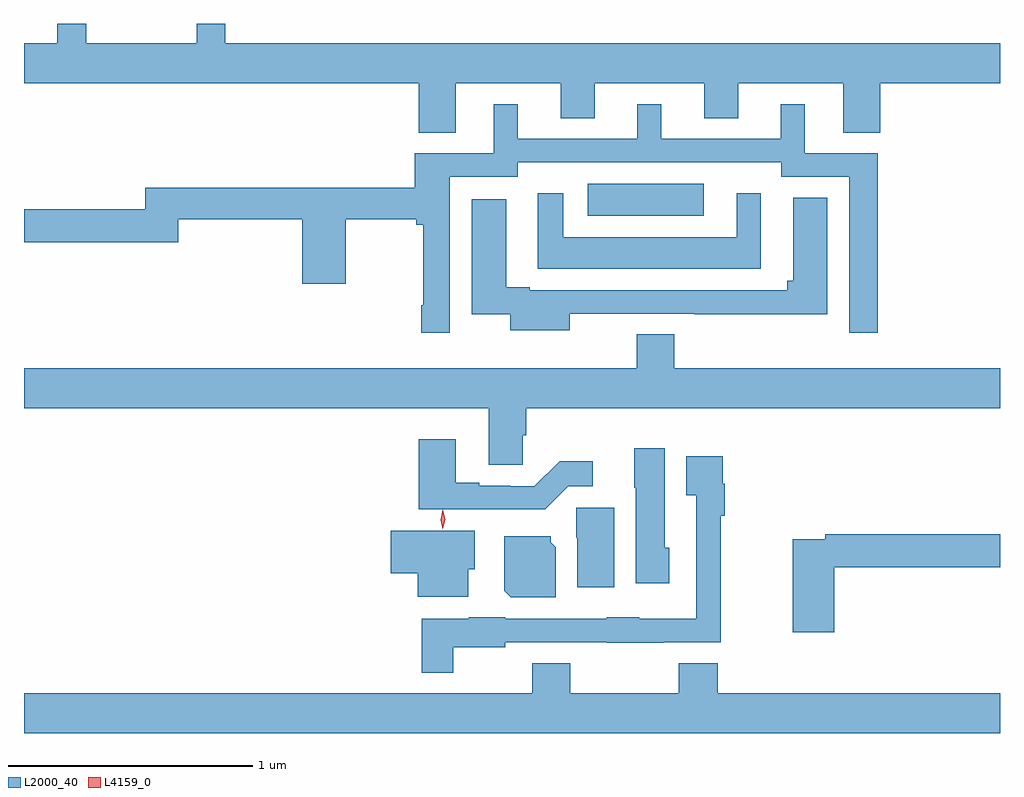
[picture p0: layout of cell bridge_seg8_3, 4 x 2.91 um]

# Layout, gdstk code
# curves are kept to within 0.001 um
import gdstk
lib = gdstk.Library(unit=1e-6, precision=1e-09)
def R(c, l, rs):  # rectangles x0, y0, x1, y1
    for r in rs: c.add(gdstk.rectangle(r[:2], r[2:], *l))
def P(c, l, *ps):  # polygons
    for p in ps: c.add(gdstk.Polygon(p, *l))
L2000_40 = (2000, 40)
L4159_0 = (4159, 0)

bridge_seg8_3 = lib.new_cell('bridge_seg8_3')
R(bridge_seg8_3, L2000_40, [(997.227,1154.585,997.702,1154.716)])
P(bridge_seg8_3, L2000_40, [(996.685,1155.128),(997.115,1155.128),(997.115,1154.986),(997.255,1154.986),(997.255,1155.128),(997.703,1155.128),(997.703,1154.986),(997.843,1154.986),(997.843,1155.128),(998.273,1155.128),(998.273,1154.926),(998.426,1154.926),(998.426,1155.128),(998.916,1155.128),(998.916,1155.292),(995.741,1155.292),(995.741,1155.373),(995.624,1155.373),(995.624,1155.292),(995.171,1155.292),(995.171,1155.373),(995.053,1155.373),(995.053,1155.292),(994.916,1155.292),(994.916,1155.128),(996.533,1155.128),(996.533,1154.926),(996.685,1154.926)],
  [(996.66,1154.745),(996.939,1154.745),(996.939,1154.805),(998.019,1154.805),(998.019,1154.745),(998.298,1154.745),(998.298,1154.106),(998.414,1154.106),(998.414,1154.841),(998.116,1154.841),(998.116,1155.043),(998.018,1155.043),(998.018,1154.901),(997.528,1154.901),(997.528,1155.043),(997.43,1155.043),(997.43,1154.901),(996.94,1154.901),(996.94,1155.043),(996.842,1155.043),(996.842,1154.841),(996.518,1154.841),(996.518,1154.701),(995.413,1154.701),(995.413,1154.612),(994.916,1154.612),(994.916,1154.476),(995.549,1154.476),(995.549,1154.572),(996.056,1154.572),(996.056,1154.307),(996.234,1154.307),(996.234,1154.572),(996.523,1154.572),(996.523,1154.549),(996.552,1154.549),(996.552,1154.218),(996.544,1154.218),(996.544,1154.106),(996.66,1154.106)],
  [(997.936,1154.677),(997.838,1154.677),(997.838,1154.497),(997.126,1154.497),(997.126,1154.677),(997.022,1154.677),(997.022,1154.369),(997.936,1154.369)],
  [(997.153,1154.184),(997.663,1154.184),(997.663,1154.182),(998.209,1154.182),(998.209,1154.659),(998.069,1154.659),(998.069,1154.319),(998.045,1154.319),(998.045,1154.28),(996.988,1154.28),(996.988,1154.293),(996.892,1154.293),(996.892,1154.653),(996.752,1154.653),(996.752,1154.182),(996.908,1154.182),(996.908,1154.117),(997.153,1154.117)],
  [(996.96,1153.686),(996.974,1153.686),(996.974,1153.796),(998.916,1153.796),(998.916,1153.96),(997.58,1153.96),(997.58,1154.099),(997.427,1154.099),(997.427,1153.96),(994.916,1153.96),(994.916,1153.796),(996.821,1153.796),(996.821,1153.564),(996.96,1153.564)],
  [(997.146,1153.476),(997.246,1153.476),(997.246,1153.579),(997.111,1153.579),(997.008,1153.476),(996.908,1153.476),(996.908,1153.479),(996.781,1153.479),(996.781,1153.492),(996.685,1153.492),(996.685,1153.669),(996.533,1153.669),(996.533,1153.383),(997.052,1153.382)],
  [(997.561,1153.224),(997.543,1153.224),(997.543,1153.633),(997.418,1153.633),(997.418,1153.47),(997.424,1153.47),(997.424,1153.08),(997.561,1153.08)],
  [(996.676,1152.818),(996.888,1152.818),(996.888,1152.837),(997.305,1152.837),(997.305,1152.836),(997.537,1152.836),(997.537,1152.837),(997.772,1152.837),(997.772,1153.355),(997.787,1153.355),(997.787,1153.487),(997.78,1153.487),(997.78,1153.6),(997.631,1153.6),(997.631,1153.439),(997.671,1153.439),(997.671,1152.934),(997.437,1152.934),(997.437,1152.94),(997.305,1152.94),(997.305,1152.933),(996.888,1152.933),(996.888,1152.94),(996.738,1152.94),(996.738,1152.934),(996.547,1152.934),(996.547,1152.713),(996.676,1152.713)],
  [(997.336,1153.389),(997.18,1153.389),(997.18,1153.266),(997.184,1153.266),(997.184,1153.062),(997.336,1153.062)],
  [(996.736,1153.137),(996.763,1153.137),(996.763,1153.294),(996.419,1153.294),(996.419,1153.121),(996.53,1153.121),(996.53,1153.025),(996.736,1153.025)],
  [(998.237,1153.144),(998.916,1153.144),(998.916,1153.28),(998.2,1153.28),(998.2,1153.26),(998.066,1153.26),(998.066,1152.879),(998.237,1152.879)],
  [(997.096,1153.226),(997.074,1153.248),(997.074,1153.273),(996.884,1153.273),(996.884,1153.048),(996.91,1153.022),(997.096,1153.022)],
  [(998.916,1152.628),(997.76,1152.628),(997.76,1152.752),(997.6,1152.752),(997.6,1152.628),(997.155,1152.628),(997.155,1152.752),(997,1152.752),(997,1152.628),(994.916,1152.628),(994.916,1152.464),(998.916,1152.464)])
P(bridge_seg8_3, L4159_0, [(996.633,1153.3),(996.633,1153.3),(996.623,1153.34),(996.632,1153.381),(996.632,1153.381),(996.633,1153.381),(996.643,1153.341),(996.633,1153.3)])

lib.write_gds('bridge_seg8_3.gds')
